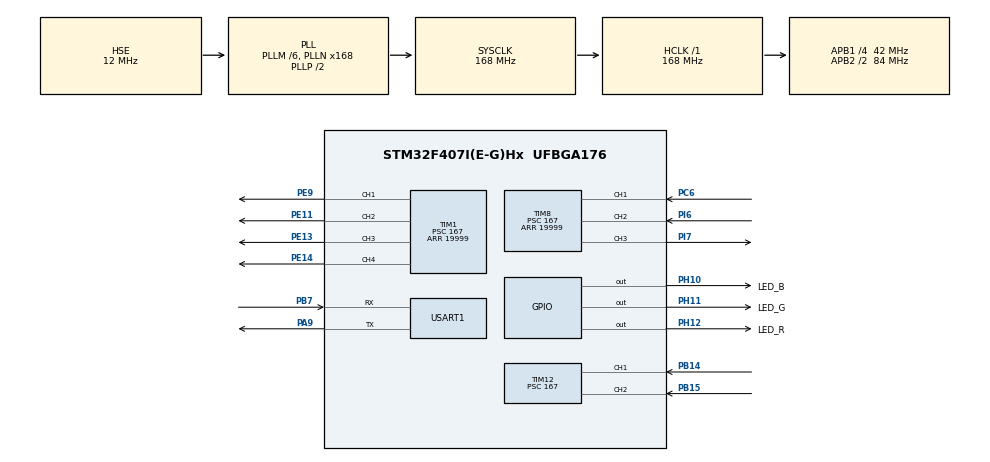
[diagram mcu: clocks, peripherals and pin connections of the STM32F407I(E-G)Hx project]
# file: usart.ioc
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Mcu.Family=STM32F4
Mcu.Name=STM32F407I(E-G)Hx
Mcu.Package=UFBGA176
NVIC.PriorityGroup=NVIC_PRIORITYGROUP_4
NVIC.TIM1_BRK_TIM9_IRQn=true\:0\:0\:false\:false\:true\:true\:true
NVIC.TIM1_CC_IRQn=true\:0\:0\:false\:false\:true\:true\:true
NVIC.TIM1_TRG_COM_TIM11_IRQn=true\:0\:0\:false\:false\:true\:true\:true
NVIC.TIM1_UP_TIM10_IRQn=true\:0\:0\:false\:false\:true\:true\:true
NVIC.TIM8_BRK_TIM12_IRQn=true\:0\:0\:false\:false\:true\:true\:true
NVIC.TIM8_CC_IRQn=true\:0\:0\:false\:false\:true\:true\:true
NVIC.TIM8_TRG_COM_TIM14_IRQn=true\:0\:0\:false\:false\:true\:true\:true
NVIC.TIM8_UP_TIM13_IRQn=true\:0\:0\:false\:false\:true\:true\:true
NVIC.USART1_IRQn=true\:0\:0\:false\:false\:false\:true\:true
PA13.Mode=Serial_Wire
PA13.Signal=SYS_JTMS-SWDIO
PA14.Mode=Serial_Wire
PA14.Signal=SYS_JTCK-SWCLK
PA9.Mode=Asynchronous
PA9.Signal=USART1_TX
PB14.GPIO_PuPd=GPIO_PULLDOWN
PB14.Signal=S_TIM12_CH1
PB15.GPIO_PuPd=GPIO_PULLDOWN
PB15.Signal=S_TIM12_CH2
PB7.Mode=Asynchronous
PB7.Signal=USART1_RX
PC6.GPIO_PuPd=GPIO_PULLDOWN
PC6.Signal=S_TIM8_CH1
PD5.Signal=USART2_TX
PD6.Signal=USART2_RX
PE11.Signal=S_TIM1_CH2
PE13.Signal=S_TIM1_CH3
PE14.Signal=S_TIM1_CH4
PE9.Signal=S_TIM1_CH1
PH0-OSC_IN.Mode=HSE-External-Oscillator
PH0-OSC_IN.Signal=RCC_OSC_IN
PH1-OSC_OUT.Mode=HSE-External-Oscillator
PH1-OSC_OUT.Signal=RCC_OSC_OUT
PH10.GPIO_Label=LED_B
PH10.GPIO_PuPd=GPIO_PULLUP
PH10.GPIO_Speed=GPIO_SPEED_FREQ_HIGH
PH10.PinState=GPIO_PIN_SET
PH10.Signal=GPIO_Output
PH11.GPIO_Label=LED_G
PH11.GPIO_PuPd=GPIO_PULLUP
PH11.GPIO_Speed=GPIO_SPEED_FREQ_HIGH
PH11.PinState=GPIO_PIN_SET
PH11.Signal=GPIO_Output
PH12.GPIO_Label=LED_R
PH12.GPIO_PuPd=GPIO_PULLUP
PH12.GPIO_Speed=GPIO_SPEED_FREQ_HIGH
PH12.PinState=GPIO_PIN_SET
PH12.Signal=GPIO_Output
PI6.GPIO_PuPd=GPIO_PULLDOWN
PI6.Signal=S_TIM8_CH2
PI7.GPIO_ModeDefaultPP=GPIO_MODE_AF_PP
PI7.GPIO_PuPd=GPIO_PULLDOWN
PI7.GPIO_Speed=GPIO_SPEED_FREQ_LOW
PI7.Signal=S_TIM8_CH3
PI7.Stacked=true
ProjectManager.HeapSize=0x200
ProjectManager.StackSize=0x400
ProjectManager.TargetToolchain=MDK-ARM V5
RCC.48MHZClocksFreq_Value=84000000
RCC.AHBFreq_Value=168000000
RCC.APB1CLKDivider=RCC_HCLK_DIV4
RCC.APB1Freq_Value=42000000
RCC.APB1TimFreq_Value=84000000
RCC.APB2CLKDivider=RCC_HCLK_DIV2
RCC.APB2Freq_Value=84000000
RCC.APB2TimFreq_Value=168000000
RCC.CortexFreq_Value=168000000
RCC.HCLKFreq_Value=168000000
RCC.HSE_VALUE=12000000
RCC.HSI_VALUE=16000000
RCC.LSE_VALUE=32768
RCC.PLLM=6
RCC.PLLN=168
RCC.PLLSourceVirtual=RCC_PLLSOURCE_HSE
RCC.SYSCLKFreq_VALUE=168000000
RCC.SYSCLKSource=RCC_SYSCLKSOURCE_PLLCLK
RCC.VCOOutputFreq_Value=336000000
SH.S_TIM12_CH1.0=TIM12_CH1,Input_Capture1_from_TI1
SH.S_TIM12_CH2.0=TIM12_CH2,Input_Capture2_from_TI2
SH.S_TIM1_CH1.0=TIM1_CH1,PWM Generation1 CH1
SH.S_TIM1_CH2.0=TIM1_CH2,PWM Generation2 CH2
SH.S_TIM1_CH3.0=TIM1_CH3,PWM Generation3 CH3
SH.S_TIM1_CH4.0=TIM1_CH4,PWM Generation4 CH4
SH.S_TIM8_CH1.0=TIM8_CH1,Input_Capture1_from_TI1
SH.S_TIM8_CH2.0=TIM8_CH2,Input_Capture2_from_TI2
SH.S_TIM8_CH3.0=TIM8_CH3,PWM Generation3 CH3
TIM1.Channel-PWM\ Generation1\ CH1=TIM_CHANNEL_1
TIM1.Channel-PWM\ Generation2\ CH2=TIM_CHANNEL_2
TIM1.Channel-PWM\ Generation3\ CH3=TIM_CHANNEL_3
TIM1.Channel-PWM\ Generation4\ CH4=TIM_CHANNEL_4
TIM1.Period=19999
TIM1.Prescaler=167
TIM1.Pulse-PWM\ Generation1\ CH1=2000
TIM1.Pulse-PWM\ Generation2\ CH2=2000
TIM1.Pulse-PWM\ Generation3\ CH3=2000
TIM1.Pulse-PWM\ Generation4\ CH4=2000
TIM12.AutoReloadPreload=TIM_AUTORELOAD_PRELOAD_ENABLE
TIM12.Channel-Input_Capture1_from_TI1=TIM_CHANNEL_1
TIM12.Channel-Input_Capture2_from_TI2=TIM_CHANNEL_2
TIM12.ICFilter_CH1=8
TIM12.ICFilter_CH2=8
TIM12.Period=0xffff
TIM12.Prescaler=167
TIM8.AutoReloadPreload=TIM_AUTORELOAD_PRELOAD_ENABLE
TIM8.Channel-Input_Capture1_from_TI1=TIM_CHANNEL_1
TIM8.Channel-Input_Capture2_from_TI2=TIM_CHANNEL_2
TIM8.Channel-PWM\ Generation3\ CH3=TIM_CHANNEL_3
TIM8.ICFilter_CH1=8
TIM8.ICFilter_CH2=8
TIM8.Period=19999
TIM8.Prescaler=167
TIM8.Pulse-PWM\ Generation3\ CH3=2000
TIM8.RepetitionCounter=8
USART1.VirtualMode=VM_ASYNC
VP_TIM1_VS_ClockSourceINT.Mode=Internal
VP_TIM8_VS_ClockSourceINT.Mode=Internal
board=custom

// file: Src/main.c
/* USER CODE BEGIN Header */
/**
  ******************************************************************************
  * @file           : main.c
  * @brief          : Main program body
  ******************************************************************************
  * @attention
  *
  * <h2><center>&copy; Copyright (c) 2019 STMicroelectronics.
  * All rights reserved.</center></h2>
  *
  * This software component is licensed by ST under BSD 3-Clause license,
  * the "License"; You may not use this file except in compliance with the
  * License. You may obtain a copy of the License at:
  *                        opensource.org/licenses/BSD-3-Clause
  *
  ******************************************************************************
  */
/* USER CODE END Header */

#include "main.h"
#include "tim.h"
#include "usart.h"
#include "gpio.h"

void SystemClock_Config(void);

/* USER CODE BEGIN 0 */
uint8_t NumberCount = 0;
uint8_t ReceiveResult = 0;
uint8_t receive_loop = 0;

uint8_t high[4];//调试使用

uint32_t capture_Buf[3] = {0};
uint8_t capture_Cnt_8 = 0;
uint8_t capture_Cnt_12 = 0;
uint32_t high_time_left_right;
uint32_t high_time_back_front;
uint16_t left_right[2] = {0, 2000};
uint16_t back_front[2] = {0, 2000};
uint16_t back_front_PWM = 0;
uint16_t left_right_pwm = 0;

void HAL_TIM_IC_CaptureCallback(TIM_HandleTypeDef *htim)
{

	if(TIM12 == htim->Instance)
	{
		switch(capture_Cnt_12){
			case 1:
				capture_Buf[0] = HAL_TIM_ReadCapturedValue(&htim12,TIM_CHANNEL_1);
				__HAL_TIM_SET_CAPTUREPOLARITY(&htim12,TIM_CHANNEL_1,TIM_ICPOLARITY_FALLING);
				capture_Cnt_12++;
				break;
			case 2:
				capture_Buf[1] = HAL_TIM_ReadCapturedValue(&htim12,TIM_CHANNEL_1);
				HAL_TIM_IC_Stop_IT(&htim12,TIM_CHANNEL_1);
			if(capture_Buf[1]>capture_Buf[0])
				high_time_back_front = capture_Buf[1] - capture_Buf[0];

			if(high_time_back_front > back_front[0])
			{
				back_front[0] = high_time_back_front;
			}
			if(high_time_back_front < back_front[1])
			{
				back_front[1] = high_time_back_front;
			}

			back_front_PWM = 1300 + (500/(back_front[0] - back_front[1])) * (high_time_back_front - back_front[1]);
			__HAL_TIM_SetCompare(&htim1, TIM_CHANNEL_1,back_front_PWM);
			__HAL_TIM_SetCompare(&htim1, TIM_CHANNEL_2,back_front_PWM);

			uint32_t high_time = high_time_back_front;
			high[3] = high_time%10+'0';
			high_time /=10;
			high[2] = high_time%10+'0';
			high_time /=10;
			high[1] = high_time%10+'0';
			high_time /=10;
			high[0] = high_time%10+'0';
			high_time /=10;
			HAL_UART_Transmit(&huart1, high,4, 0x100);
			HAL_UART_Transmit(&huart1, "\r\n",2, 0x100);
			__HAL_TIM_SET_CAPTUREPOLARITY(&htim12, TIM_CHANNEL_1, TIM_INPUTCHANNELPOLARITY_RISING);
			HAL_TIM_IC_Start_IT(&htim12, TIM_CHANNEL_1);
			capture_Cnt_12=1;
		}
	}

		if(TIM8 == htim->Instance)
	{
		switch(capture_Cnt_8){
			case 1:
				capture_Buf[0] = HAL_TIM_ReadCapturedValue(&htim8,TIM_CHANNEL_1);
				__HAL_TIM_SET_CAPTUREPOLARITY(&htim8,TIM_CHANNEL_1,TIM_ICPOLARITY_FALLING);
				capture_Cnt_8++;
				break;
			case 2:
				capture_Buf[1] = HAL_TIM_ReadCapturedValue(&htim8,TIM_CHANNEL_1);
				HAL_TIM_IC_Stop_IT(&htim8,TIM_CHANNEL_1);
			if(capture_Buf[1]>capture_Buf[0])
				high_time_left_right = capture_Buf[1] - capture_Buf[0];
			if(high_time_left_right>1800)
			{
				high_time_left_right = 1800;
			}
			 else if(high_time_left_right<1200)
			{
				high_time_left_right = 1200;
			}
			if(high_time_left_right>left_right[0])
			{
				left_right[0] = high_time_left_right;
			}
			if(high_time_left_right<left_right[1])
			{
				left_right[1] = high_time_left_right;
			}
			left_right_pwm = 1300 + (500* (high_time_left_right - left_right[1]))/(left_right[0] - left_right[1]);
				__HAL_TIM_SetCompare(&htim8, TIM_CHANNEL_3,left_right_pwm);
				__HAL_TIM_SetCompare(&htim1, TIM_CHANNEL_2,left_right_pwm);

			uint32_t high_time =left_right_pwm;
			high[3] = high_time%10+'0';
			high_time /=10;
			high[2] = high_time%10+'0';
			high_time /=10;
			high[1] = high_time%10+'0';
			high_time /=10;
			high[0] = high_time%10+'0';
			high_time /=10;
			HAL_UART_Transmit(&huart1, high,4, 0x100);
			HAL_UART_Transmit(&huart1, "    ",4, 0x100);

			 high_time =left_right[1];
			high[3] = high_time%10+'0';
			high_time /=10;
			high[2] = high_time%10+'0';
			high_time /=10;
			high[1] = high_time%10+'0';
			high_time /=10;
			high[0] = high_time%10+'0';
			high_time /=10;
			HAL_UART_Transmit(&huart1, high,4, 0x100);
			HAL_UART_Transmit(&huart1, "    ",4, 0x100);

			high_time =left_right[0];
			high[3] = high_time%10+'0';
			high_time /=10;
			high[2] = high_time%10+'0';
			high_time /=10;
			high[1] = high_time%10+'0';
			high_time /=10;
			high[0] = high_time%10+'0';
			high_time /=10;
			HAL_UART_Transmit(&huart1, high,4, 0x100);
			HAL_UART_Transmit(&huart1, "    ",4, 0x100);

				high_time =high_time_left_right;
			high[3] = high_time%10+'0';
			high_time /=10;
			high[2] = high_time%10+'0';
			high_time /=10;
			high[1] = high_time%10+'0';
			high_time /=10;
			high[0] = high_time%10+'0';
			high_time /=10;
			HAL_UART_Transmit(&huart1, high,4, 0x100);
			HAL_UART_Transmit(&huart1, "    ",4, 0x100);

			HAL_UART_Transmit(&huart1, "\r\n",2, 0x100);
			__HAL_TIM_SET_CAPTUREPOLARITY(&htim8, TIM_CHANNEL_1, TIM_INPUTCHANNELPOLARITY_RISING);
			HAL_TIM_IC_Start_IT(&htim8, TIM_CHANNEL_1);
			capture_Cnt_8=1;
		}

	}

}

void USART1_IRQHandler(void)
{
    volatile uint8_t receive;
    //receive interrupt 接收中断
    if(huart1.Instance->SR & UART_FLAG_RXNE)
    {
        receive = huart1.Instance->DR;
			  if(receive == 'b'){
					NumberCount = 0;
					ReceiveResult = 0;
					receive_loop = 0;
				}
				else if(receive == 'e'){
					receive_loop = 1;
					/*
					change the struct data code
					*/
				}
				else{
					int add_number = receive - '0';
					int j = 1;
					int weight = 1;
					NumberCount ++ ;
					for( j = 1; j < NumberCount; j ++){
						weight = weight * 10;
					}
					ReceiveResult += weight * add_number;

				}
    }

    //idle interrupt 空闲中断
    else if(huart1.Instance->SR & UART_FLAG_IDLE)
    {
        receive = huart1.Instance->DR;
        HAL_GPIO_WritePin(LED_R_GPIO_Port, LED_R_Pin, GPIO_PIN_RESET);
    }

}

/* USER CODE END 0 */

int main(void)
{

  /* MCU Configuration--------------------------------------------------------*/

  /* Reset of all peripherals, Initializes the Flash interface and the Systick. */
  HAL_Init();

  /* Configure the system clock */
  SystemClock_Config();

  /* Initialize all configured peripherals */
  MX_GPIO_Init();
  MX_USART1_UART_Init();
  MX_TIM8_Init();
  MX_TIM12_Init();
  MX_TIM1_Init();
  /* USER CODE BEGIN 2 */
    HAL_TIM_Base_Start(&htim8);
    HAL_TIM_PWM_Start(&htim8, TIM_CHANNEL_3);
		HAL_TIM_Base_Start(&htim1);
    HAL_TIM_PWM_Start(&htim1, TIM_CHANNEL_1);
    HAL_TIM_PWM_Start(&htim1, TIM_CHANNEL_2);
    HAL_TIM_PWM_Start(&htim1, TIM_CHANNEL_3);
    HAL_TIM_PWM_Start(&htim1, TIM_CHANNEL_4);

    HAL_GPIO_WritePin(LED_R_GPIO_Port, LED_R_Pin, GPIO_PIN_RESET);
    HAL_GPIO_WritePin(LED_G_GPIO_Port, LED_G_Pin, GPIO_PIN_RESET);
    HAL_GPIO_WritePin(LED_B_GPIO_Port, LED_B_Pin, GPIO_PIN_RESET);
    //enable receive interrupt and idle interrupt
    //使能接收中断和空闲中断
    __HAL_UART_ENABLE_IT(&huart1, UART_IT_RXNE);  //receive interrupt
    __HAL_UART_ENABLE_IT(&huart1, UART_IT_IDLE);  //idle interrupt

  /* USER CODE END 2 */

  /* Infinite loop */
  /* USER CODE BEGIN WHILE */
	//get begin,open the rasing take;开始检测上升沿
	__HAL_TIM_SET_CAPTUREPOLARITY(&htim8, TIM_CHANNEL_1, TIM_INPUTCHANNELPOLARITY_RISING);
		HAL_TIM_IC_Start_IT(&htim8, TIM_CHANNEL_1);
		__HAL_TIM_SET_CAPTUREPOLARITY(&htim12, TIM_CHANNEL_1, TIM_INPUTCHANNELPOLARITY_RISING);
		HAL_TIM_IC_Start_IT(&htim12, TIM_CHANNEL_1);
		capture_Cnt_8 = 1;
		capture_Cnt_12 = 1;
		//

	  while (1)
  {
    /* USER CODE END WHILE */

    /* USER CODE BEGIN 3 */
        //send data by usart
        //串口发送数据
//        HAL_UART_Transmit(&huart1, "RoboMaster\r\n", 12, 100);
//        HAL_Delay(100);
//        HAL_UART_Transmit(&huart6, "RoboMaster\r\n", 12, 100);
//        HAL_Delay(100);
//		__HAL_TIM_SetCompare(&htim8, TIM_CHANNEL_3,left_right_pwm);
//				__HAL_TIM_SetCompare(&htim1, TIM_CHANNEL_2,left_right_pwm);
			HAL_Delay(100);
			HAL_UART_Transmit(&huart1, "shdksdjks\r\n", 12, 100);

  }
  /* USER CODE END 3 */
}

void SystemClock_Config(void)
{
  RCC_OscInitTypeDef RCC_OscInitStruct = {0};
  RCC_ClkInitTypeDef RCC_ClkInitStruct = {0};

  /** Configure the main internal regulator output voltage
  */
  __HAL_RCC_PWR_CLK_ENABLE();
  __HAL_PWR_VOLTAGESCALING_CONFIG(PWR_REGULATOR_VOLTAGE_SCALE1);
  /** Initializes the CPU, AHB and APB busses clocks
  */
  RCC_OscInitStruct.OscillatorType = RCC_OSCILLATORTYPE_HSE;
  RCC_OscInitStruct.HSEState = RCC_HSE_ON;
  RCC_OscInitStruct.PLL.PLLState = RCC_PLL_ON;
  RCC_OscInitStruct.PLL.PLLSource = RCC_PLLSOURCE_HSE;
  RCC_OscInitStruct.PLL.PLLM = 6;
  RCC_OscInitStruct.PLL.PLLN = 168;
  RCC_OscInitStruct.PLL.PLLP = RCC_PLLP_DIV2;
  RCC_OscInitStruct.PLL.PLLQ = 4;
  if (HAL_RCC_OscConfig(&RCC_OscInitStruct) != HAL_OK)
  {
    Error_Handler();
  }
  /** Initializes the CPU, AHB and APB busses clocks
  */
  RCC_ClkInitStruct.ClockType = RCC_CLOCKTYPE_HCLK|RCC_CLOCKTYPE_SYSCLK
                              |RCC_CLOCKTYPE_PCLK1|RCC_CLOCKTYPE_PCLK2;
  RCC_ClkInitStruct.SYSCLKSource = RCC_SYSCLKSOURCE_PLLCLK;
  RCC_ClkInitStruct.AHBCLKDivider = RCC_SYSCLK_DIV1;
  RCC_ClkInitStruct.APB1CLKDivider = RCC_HCLK_DIV4;
  RCC_ClkInitStruct.APB2CLKDivider = RCC_HCLK_DIV2;

  if (HAL_RCC_ClockConfig(&RCC_ClkInitStruct, FLASH_LATENCY_5) != HAL_OK)
  {
    Error_Handler();
  }
}

void Error_Handler(void)
{
}

/************************ (C) COPYRIGHT STMicroelectronics *****END OF FILE****/
